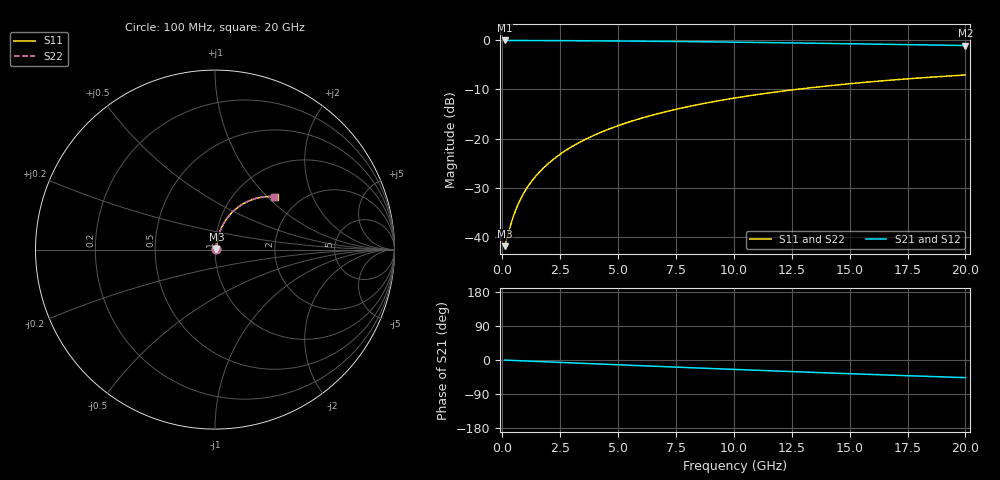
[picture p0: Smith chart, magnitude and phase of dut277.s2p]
! Touchstone file exported from HFSS 2026.1.0
!  File:  C:/ffzhzh/LocalFiles/Ansys_Project_Files/temp_train_TMRDL_277_1782985283_40604.aedt
!  Generated:  05:42:37 PM Jul  2, 2026
!  Design:  TMRDL
!  Project:  temp_train_TMRDL_277_1782985283_40604
! Variables:
!  h_bsmrdl = 2um
!  h_ox = 20um
!  h_rdl = 5um
!  h_sub = 80um
!  h_tmrdl = 2um
!  h_tsv = 80um
!  h_via = 3um
!  l_bsmrdl = 300um
!  l_sub = 1077.38um
!  l_tmrdl = 677.38um
!  m_sub = 200um
!  pitch = 38.57um
!  r_tsv = 6um
!  s_tmrdl = 10um
!  w_bsmrdl = 18um
!  w_sub = 500um
!  w_tmrdl = 16.19um
!  x_tsv_center1 = 685.475um
!  x_tsv_center2 = 1003.475um
!  x_tsv_center3 = 1697.045um
!  x_tsv_center4 = 2015.045um
!  x_tsv_center5 = 2708.615um
!  x_tsv_center6 = 3026.615um
# GHz S MA R 50.000000
! Terminal data exported
! Port[1] = TM_RDL1_1_T1
! Port[2] = TM_RDL1_1_T2
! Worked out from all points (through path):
!   200 points, 100 MHz to 20 GHz, reference 50 ohm
!   highest |S21| = -0.07 dB at 100 MHz (marker M1); lowest = -1.1 dB at 20 GHz (marker M2)
!   group delay of S21, straight-line fit = 6.49 ps
!   lowest |S11| = -41.8 dB at 100 MHz (marker M3), VSWR 1.02, Z = 50.8 + j0.303 ohm
!   |S11| at or under -10 dB: start of sweep to 12.68 GHz
!   |S22| runs from -41.8 to -7.1 dB; largest |S21 - S12| = 3.1e-15
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0.1  0.008153 21.5  0.9924 -0.3  0.9924 -0.3  0.008153 21.5
! Gamma 0 0 0 0
! Port Impedance 50 0 50 0
0.4  0.01432 55.2  0.992 -1.1  0.992 -1.1  0.01432 55.2
0.5  0.01688 59.9  0.9918 -1.3  0.9918 -1.3  0.01688 59.9
0.6  0.01949 63.2  0.9915 -1.6  0.9915 -1.6  0.01949 63.2
0.7  0.02212 65.6  0.9913 -1.9  0.9913 -1.9  0.02212 65.6
0.9  0.0274 68.9  0.9909 -2.4  0.9909 -2.4  0.0274 68.9
1.2  0.03532 71.8  0.9903 -3.1  0.9903 -3.1  0.03532 71.8
1.4  0.0406 73.1  0.9899 -3.6  0.9899 -3.6  0.0406 73.1
1.7  0.04854 74.3  0.9893 -4.4  0.9893 -4.4  0.04854 74.3
2.2  0.06181 75.2  0.9884 -5.7  0.9884 -5.7  0.06181 75.2
2.8  0.07776 75.5  0.9871 -7.2  0.9871 -7.2  0.07776 75.5
3.5  0.09634 75.0  0.9852 -8.9  0.9852 -8.9  0.09634 75.0
4.2  0.1148 74.1  0.9831 -10.7  0.9831 -10.7  0.1148 74.2
5  0.1357 72.9  0.9803 -12.7  0.9803 -12.7  0.1357 72.9
5.9  0.1589 71.2  0.9766 -14.9  0.9766 -14.9  0.1589 71.2
6.8  0.1816 69.4  0.9724 -17.1  0.9724 -17.1  0.1816 69.4
8.3  0.2184 66.2  0.9645 -20.8  0.9645 -20.8  0.2184 66.3
10.1  0.2604 62.3  0.9536 -25.1  0.9536 -25.1  0.2604 62.4
11.7  0.2956 58.8  0.943 -28.8  0.943 -28.8  0.2956 58.9
13.4  0.3307 55.1  0.9309 -32.6  0.9309 -32.6  0.3307 55.2
16.7  0.3918 48.2  0.9064 -39.8  0.9064 -39.8  0.3918 48.3
20  0.4435 41.6  0.8819 -46.6  0.8819 -46.6  0.4435 41.7
